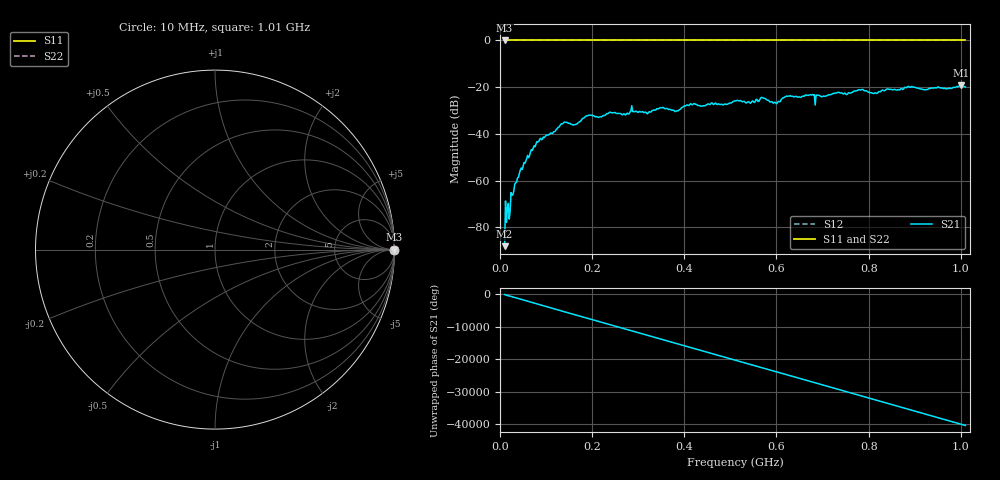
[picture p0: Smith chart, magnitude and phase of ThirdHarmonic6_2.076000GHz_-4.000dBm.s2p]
! 8/17/2025 12:51:34 AM
! C:\ANRITSUVNA\TEMP\TEMP.S2P
! CHANNEL.1
! TR.MEASUREMENT
! RAW.DATA
! RF.CORRECTION.OFF
! AVERAGING.OFF
! IF.BANDWIDTH: 5KHZ
! SWEEPTYPE:  FREQ.SWEEP(Linear)
! Reference Plane Port Info
! PORT:  PORT1  PORT2
! DISTANCE:  0  m  0  m
! TIME:  0  s  0  s
! PHASE.OFFSET:  0  deg.  0  deg.
! LOSS:  0  dB  0  dB
! REF.LOSS:  0  dB  0  dB
! REF.FREQ:  0  Hz  0  Hz
! Power Info
! POWER:  -20  dBm  -20  dBm
! EFF.POWER:  -20  dBm  -20  dBm
! SOURCE.ATTEN:  0  dB  0  dB
! TEST.ATTEN:  0  dB  0  dB
# GHZ S RI R 50.0
! FREQ.GHZ  S11RE  S11IM  S21RE  S21IM  S12RE  S12IM  S22RE  S22IM
!; PortSelection: Port_12
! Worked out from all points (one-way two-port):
!   501 points, 10 MHz to 1.01 GHz, reference 50 ohm
!   highest |S21| = -19.23 dB at 1 GHz (marker M1); lowest = -88.1 dB at 10 MHz (marker M2)
!   lowest |S11| = 0.0 dB at 10 MHz (marker M3)
!   |S11| at or under -10 dB: nowhere
!   |S22| runs from 0.0 to 0.0 dB; largest |S21 - S12| = 1.1
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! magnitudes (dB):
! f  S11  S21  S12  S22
! 10 MHz  0.0  -88.1  0.0  0.0
! 14 MHz  0.0  -78.0  0.0  0.0
! 18 MHz  0.0  -69.8  0.0  0.0
! 28 MHz  0.0  -66.1  0.0  0.0
! 42 MHz  0.0  -57.0  0.0  0.0
! 78 MHz  0.0  -44.4  0.0  0.0
! 136 MHz  0.0  -35.6  0.0  0.0
! 162 MHz  0.0  -36.1  0.0  0.0
! 178 MHz  0.0  -33.7  0.0  0.0
! 192 MHz  0.0  -32.0  0.0  0.0
! 322 MHz  0.0  -30.9  0.0  0.0
! 344 MHz  0.0  -29.3  0.0  0.0
! 384 MHz  0.0  -30.1  0.0  0.0
! 416 MHz  0.0  -27.5  0.0  0.0
! 510 MHz  0.0  -25.9  0.0  0.0
! 570 MHz  0.0  -24.5  0.0  0.0
! 598 MHz  0.0  -26.6  0.0  0.0
! 624 MHz  0.0  -24.0  0.0  0.0
! 678 MHz  0.0  -23.2  0.0  0.0
! 844 MHz  0.0  -20.9  0.0  0.0
! 1 GHz  0.0  -19.2  0.0  0.0
! 1.01 GHz  0.0  -19.9  0.0  0.0
